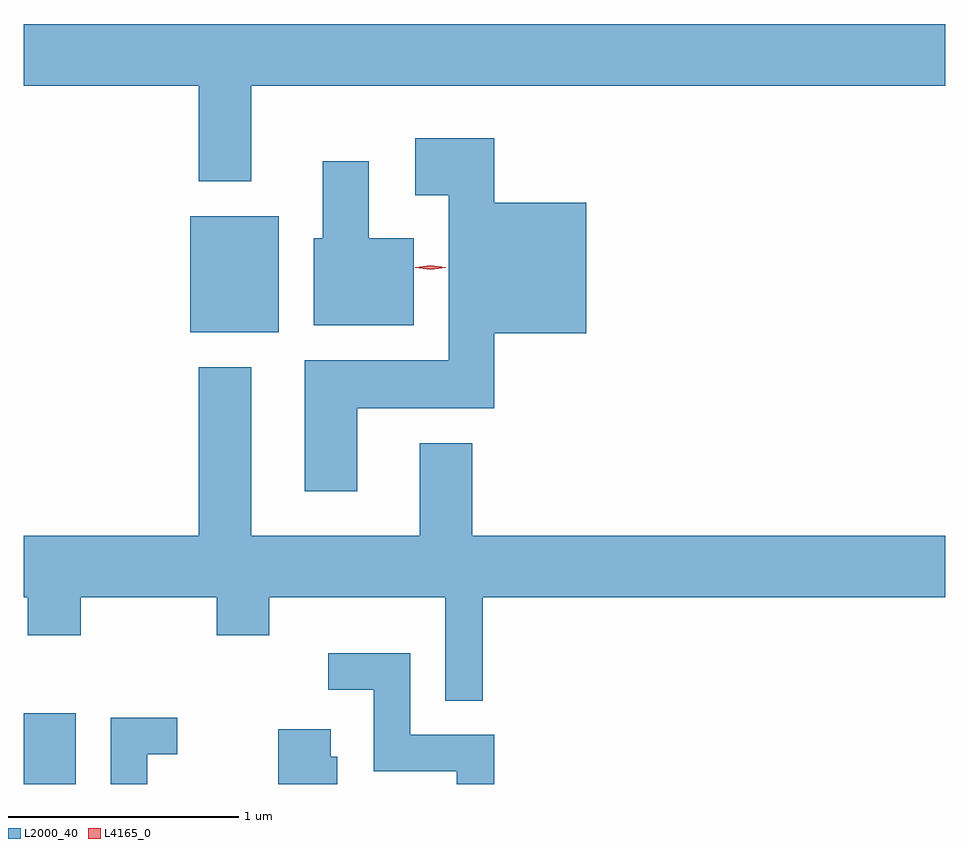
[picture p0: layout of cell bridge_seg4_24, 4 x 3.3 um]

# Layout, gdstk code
import gdstk
lib = gdstk.Library(unit=1e-6, precision=1e-09)
def R(c, l, rs):  # rectangles x0, y0, x1, y1
    for r in rs: c.add(gdstk.rectangle(r[:2], r[2:], *l))
def P(c, l, *ps):  # polygons
    for p in ps: c.add(gdstk.Polygon(p, *l))
L2000_40 = (2000, 40)
L4165_0 = (4165, 0)

bridge_seg4_24 = lib.new_cell('bridge_seg4_24')
R(bridge_seg4_24, L2000_40, [(1199.132,1322.786,1199.359,1323.094), (1199.856,1324.746,1200.239,1325.249)])
P(bridge_seg4_24, L2000_40, [(1200.119,1325.816),(1203.132,1325.816),(1203.132,1326.084),(1199.132,1326.084),(1199.132,1325.816),(1199.891,1325.816),(1199.891,1325.401),(1200.119,1325.401)],
  [(1200.579,1324.416),(1201.174,1324.416),(1201.174,1324.741),(1201.574,1324.741),(1201.574,1325.309),(1201.174,1325.309),(1201.174,1325.589),(1200.831,1325.589),(1200.831,1325.341),(1200.976,1325.341),(1200.976,1324.624),(1200.351,1324.624),(1200.351,1324.056),(1200.579,1324.056)],
  [(1200.824,1325.154),(1200.629,1325.154),(1200.629,1325.489),(1200.431,1325.489),(1200.431,1325.154),(1200.391,1325.154),(1200.391,1324.776),(1200.824,1324.776)],
  [(1201.124,1323.596),(1203.132,1323.596),(1203.132,1323.864),(1201.079,1323.864),(1201.079,1324.264),(1200.851,1324.264),(1200.851,1323.864),(1200.119,1323.864),(1200.119,1324.594),(1199.891,1324.594),(1199.891,1323.864),(1199.132,1323.864),(1199.132,1323.596),(1199.151,1323.596),(1199.151,1323.431),(1199.379,1323.431),(1199.379,1323.596),(1199.971,1323.596),(1199.971,1323.431),(1200.199,1323.431),(1200.199,1323.596),(1200.961,1323.596),(1200.961,1323.148),(1201.124,1323.148)],
  [(1201.174,1322.999),(1200.809,1322.999),(1200.809,1323.354),(1200.453,1323.354),(1200.453,1323.196),(1200.651,1323.196),(1200.651,1322.841),(1201.011,1322.841),(1201.011,1322.786),(1201.174,1322.786)],
  [(1199.669,1322.916),(1199.798,1322.916),(1199.798,1323.074),(1199.511,1323.074),(1199.511,1322.786),(1199.669,1322.786)],
  [(1200.494,1322.904),(1200.464,1322.904),(1200.464,1323.024),(1200.236,1323.024),(1200.236,1322.786),(1200.494,1322.786)])
P(bridge_seg4_24, L4165_0, [(1200.898,1325.017),(1200.832,1325.027),(1200.831,1325.027),(1200.832,1325.028),(1200.898,1325.037),(1200.964,1325.028),(1200.964,1325.027),(1200.964,1325.027)])

lib.write_gds('bridge_seg4_24.gds')
